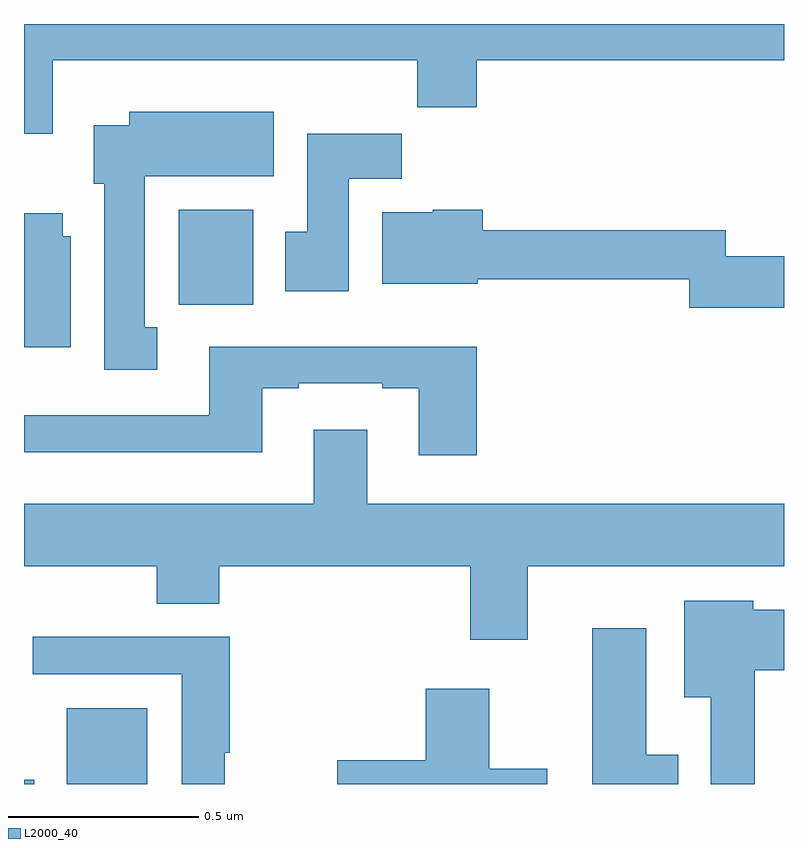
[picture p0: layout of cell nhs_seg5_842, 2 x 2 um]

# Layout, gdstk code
import gdstk
lib = gdstk.Library(unit=1e-6, precision=1e-09)
def R(c, l, rs):  # rectangles x0, y0, x1, y1
    for r in rs: c.add(gdstk.rectangle(r[:2], r[2:], *l))
def P(c, l, *ps):  # polygons
    for p in ps: c.add(gdstk.Polygon(p, *l))
L2000_40 = (2000, 40)

nhs_seg5_842 = lib.new_cell('nhs_seg5_842')
R(nhs_seg5_842, L2000_40, [(121,910.799,121.027,910.81), (121.112,910.799,121.324,910.999), (121.407,912.06,121.603,912.31)])
P(nhs_seg5_842, L2000_40, [(121.075,912.704),(122.035,912.704),(122.035,912.58),(122.192,912.58),(122.192,912.704),(123,912.704),(123,912.799),(121,912.799),(121,912.51),(121.075,912.51)],
  [(121.351,912.001),(121.318,912.001),(121.318,912.398),(121.657,912.398),(121.657,912.568),(121.277,912.568),(121.277,912.532),(121.184,912.532),(121.184,912.378),(121.211,912.378),(121.211,911.889),(121.351,911.889)],
  [(121.855,912.392),(121.994,912.392),(121.994,912.51),(121.745,912.51),(121.745,912.252),(121.688,912.252),(121.688,912.096),(121.855,912.096)],
  [(123,912.188),(122.847,912.188),(122.847,912.256),(122.207,912.256),(122.207,912.31),(122.076,912.31),(122.076,912.304),(121.943,912.304),(121.943,912.116),(122.194,912.116),(122.194,912.127),(122.751,912.127),(122.751,912.052),(123,912.052)],
  [(121.123,912.24),(121.102,912.24),(121.102,912.301),(121,912.301),(121,911.948),(121.123,911.948)],
  [(122.192,911.95),(121.487,911.95),(121.487,911.769),(121,911.769),(121,911.672),(121.627,911.672),(121.627,911.841),(121.723,911.841),(121.723,911.853),(121.943,911.853),(121.943,911.841),(122.039,911.841),(122.039,911.664),(122.192,911.664)],
  [(122.326,911.372),(123,911.372),(123,911.536),(121.903,911.536),(121.903,911.731),(121.763,911.731),(121.763,911.536),(121,911.536),(121,911.372),(121.349,911.372),(121.349,911.273),(121.514,911.273),(121.514,911.372),(122.174,911.372),(122.174,911.178),(122.326,911.178)],
  [(122.923,911.099),(123,911.099),(123,911.257),(122.919,911.257),(122.919,911.281),(122.738,911.281),(122.738,911.027),(122.807,911.027),(122.807,910.799),(122.923,910.799)],
  [(122.722,910.876),(122.638,910.876),(122.638,911.209),(122.495,911.209),(122.495,910.799),(122.722,910.799)],
  [(121.528,910.881),(121.541,910.881),(121.541,911.186),(121.023,911.186),(121.023,911.088),(121.415,911.088),(121.415,910.799),(121.528,910.799)],
  [(122.377,910.839),(122.224,910.839),(122.224,911.05),(122.057,911.05),(122.057,910.862),(121.824,910.862),(121.824,910.799),(122.377,910.799)])

lib.write_gds('nhs_seg5_842.gds')
